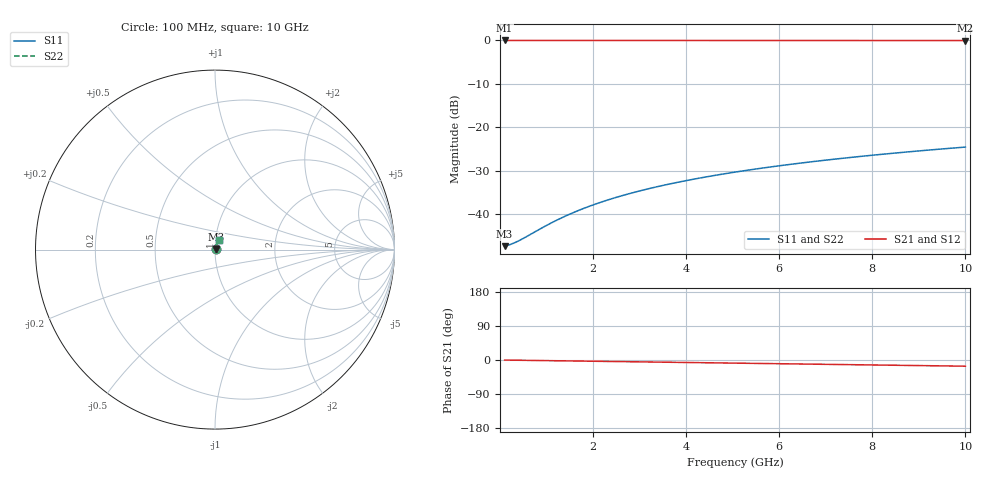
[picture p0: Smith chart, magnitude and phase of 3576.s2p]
# Hz S RI R 50.00
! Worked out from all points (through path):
!   100 points, 100 MHz to 10 GHz, reference 50 ohm
!   highest |S21| = -0.04 dB at 100 MHz (marker M1); lowest = -0.1 dB at 10 GHz (marker M2)
!   group delay of S21, straight-line fit = 4.54 ps
!   lowest |S11| = -47.4 dB at 100 MHz (marker M3), VSWR 1.01, Z = 50.4 + j0.059 ohm
!   |S11| at or under -10 dB: start of sweep to end of sweep
!   |S22| runs from -47.4 to -24.6 dB; largest |S21 - S12| = 0
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1e8  0.00422 0.000585  0.9958 -0.00284  0.9958 -0.00284  0.00422 0.000585
2e8  0.00425 0.00117  0.9957 -0.00568  0.9957 -0.00568  0.00425 0.00117
3e8  0.00428 0.00175  0.9957 -0.00852  0.9957 -0.00852  0.00428 0.00175
4e8  0.00431 0.00234  0.9956 -0.0114  0.9956 -0.0114  0.00431 0.00234
9e8  0.00447 0.00526  0.9953 -0.0256  0.9953 -0.0256  0.00447 0.00526
1.2e9  0.0046 0.00701  0.995 -0.0341  0.995 -0.0341  0.0046 0.00701
1.5e9  0.00475 0.00875  0.9946 -0.0426  0.9946 -0.0426  0.00475 0.00875
1.8e9  0.00493 0.0105  0.9942 -0.0511  0.9942 -0.0511  0.00493 0.0105
2.1e9  0.00515 0.0122  0.9937 -0.0596  0.9937 -0.0596  0.00515 0.0122
2.5e9  0.00547 0.0145  0.9929 -0.0709  0.9929 -0.0709  0.00547 0.0145
2.9e9  0.00585 0.0169  0.9919 -0.0822  0.9919 -0.0822  0.00585 0.0169
3.4e9  0.00639 0.0197  0.9906 -0.0964  0.9906 -0.0964  0.00639 0.0197
3.8e9  0.00688 0.022  0.9894 -0.1077  0.9894 -0.1077  0.00688 0.022
4.2e9  0.00743 0.0243  0.988 -0.1189  0.988 -0.1189  0.00743 0.0243
4.6e9  0.00803 0.0265  0.9865 -0.1302  0.9865 -0.1302  0.00803 0.0265
5.1e9  0.00884 0.0293  0.9844 -0.1442  0.9844 -0.1442  0.00884 0.0293
5.9e9  0.0103 0.0338  0.9807 -0.1666  0.9807 -0.1666  0.0103 0.0338
6.7e9  0.012 0.0381  0.9764 -0.1889  0.9764 -0.1889  0.012 0.0381
7.5e9  0.0139 0.0424  0.9716 -0.2111  0.9716 -0.2111  0.0139 0.0424
8.4e9  0.0162 0.0471  0.9656 -0.2359  0.9656 -0.2359  0.0162 0.0471
9.2e9  0.0185 0.0511  0.9597 -0.2579  0.9597 -0.2579  0.0185 0.0511
1e10  0.0209 0.0551  0.9533 -0.2796  0.9533 -0.2796  0.0209 0.0551
